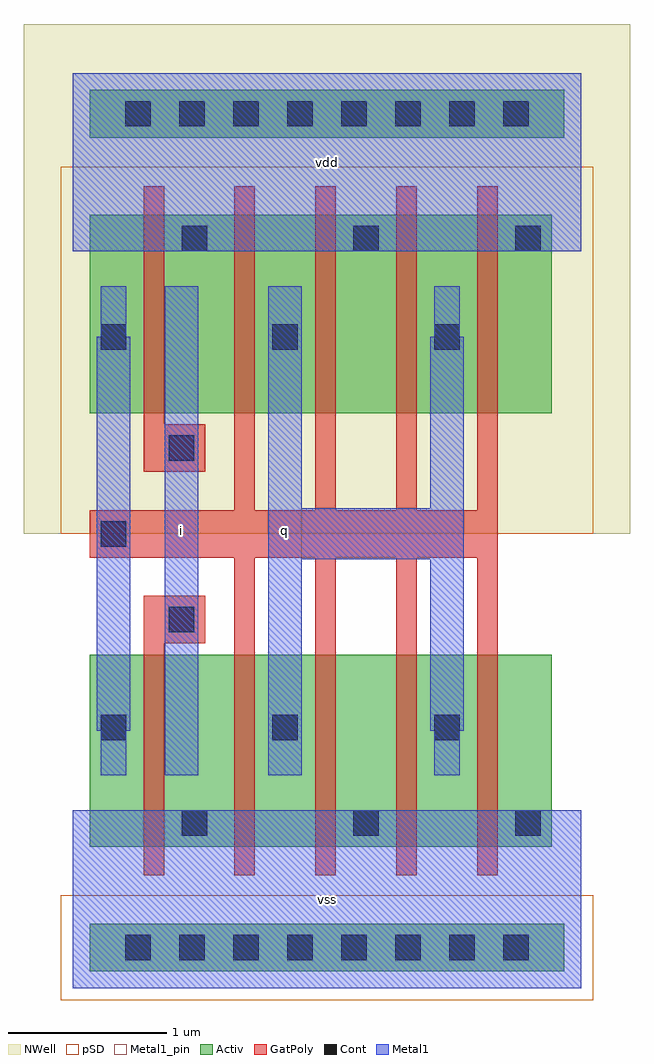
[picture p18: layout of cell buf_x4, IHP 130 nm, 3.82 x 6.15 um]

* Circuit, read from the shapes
.subckt buf_x4 i q vdd vss
XM1 vss i n1 vss sg13_lv_nmos w=1.21u l=0.13u
XM2 q n1 vss vss sg13_lv_nmos w=1.21u l=0.13u m=4
XM3 vdd i n1 vdd sg13_lv_pmos w=1.25u l=0.13u
XM4 q n1 vdd vdd sg13_lv_pmos w=1.25u l=0.13u m=4
.ends

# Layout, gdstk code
import gdstk
lib = gdstk.Library(unit=1e-6, precision=1e-09)
def R(c, l, rs):  # rectangles x0, y0, x1, y1
    for r in rs: c.add(gdstk.rectangle(r[:2], r[2:], *l))
def P(c, l, *ps):  # polygons
    for p in ps: c.add(gdstk.Polygon(p, *l))
Activ = (1, 0)
GatPoly = (5, 0)
Cont = (6, 0)
Metal1 = (8, 0)
Metal1_pin = (8, 2)
pSD = (14, 0)
NWell = (31, 0)

buf_x4 = lib.new_cell('buf_x4')
P(buf_x4, Activ, [(0.615,0.89),(0.615,2.1),(0.915,2.1),(0.915,0.89),(0.615,0.89)],
  [(2.675,0.89),(2.675,2.1),(2.905,2.1),(2.905,0.89),(2.675,0.89)],
  [(1.695,0.89),(1.695,1.19),(1.995,1.19),(1.995,0.89),(1.695,0.89)],
  [(2.545,0.89),(2.545,2.1),(2.675,2.1),(2.675,0.89),(2.545,0.89)],
  [(0.445,0.89),(0.445,2.1),(0.575,2.1),(0.575,0.89),(0.445,0.89)],
  [(1.695,0.89),(1.695,2.1),(1.995,2.1),(1.995,0.89),(1.695,0.89)],
  [(0.26,0.105),(0.26,0.405),(2.94,0.405),(2.94,0.105),(0.26,0.105)],
  [(2.715,0.89),(2.715,1.19),(3.015,1.19),(3.015,0.89),(2.715,0.89)],
  [(1.725,0.89),(1.725,2.1),(1.965,2.1),(1.965,0.89),(1.725,0.89)],
  [(2.035,0.89),(2.035,2.1),(2.165,2.1),(2.165,0.89),(2.035,0.89)],
  [(1.655,0.89),(1.655,2.1),(1.885,2.1),(1.885,0.89),(1.655,0.89)],
  [(1.525,0.89),(1.525,2.1),(1.655,2.1),(1.655,0.89),(1.525,0.89)],
  [(0.575,0.89),(0.575,2.1),(0.805,2.1),(0.805,0.89),(0.575,0.89)],
  [(0.645,0.89),(0.645,2.1),(0.945,2.1),(0.945,0.89),(0.645,0.89)],
  [(1.015,0.89),(1.015,2.1),(1.145,2.1),(1.145,0.89),(1.015,0.89)],
  [(1.805,0.89),(1.805,2.1),(2.035,2.1),(2.035,0.89),(1.805,0.89)],
  [(0.615,0.89),(0.615,1.19),(0.915,1.19),(0.915,0.89),(0.615,0.89)],
  [(0.105,0.105),(0.105,0.405),(3.095,0.405),(3.095,0.105),(0.105,0.105)],
  [(0.785,0.89),(0.785,2.1),(1.015,2.1),(1.015,0.89),(0.785,0.89)],
  [(2.715,0.89),(2.715,2.1),(3.015,2.1),(3.015,0.89),(2.715,0.89)],
  [(2.745,0.89),(2.745,2.1),(3.015,2.1),(3.015,0.89),(2.745,0.89)],
  [(1.525,3.62),(1.525,4.87),(1.655,4.87),(1.655,3.62),(1.525,3.62)],
  [(1.695,3.62),(1.695,4.87),(1.995,4.87),(1.995,3.62),(1.695,3.62)],
  [(2.035,3.62),(2.035,4.87),(2.165,4.87),(2.165,3.62),(2.035,3.62)],
  [(1.695,4.57),(1.695,4.87),(1.995,4.87),(1.995,4.57),(1.695,4.57)],
  [(0.615,3.62),(0.615,4.87),(0.915,4.87),(0.915,3.62),(0.615,3.62)],
  [(2.675,3.62),(2.675,4.87),(2.905,4.87),(2.905,3.62),(2.675,3.62)],
  [(2.715,3.62),(2.715,4.87),(3.015,4.87),(3.015,3.62),(2.715,3.62)],
  [(0.645,3.62),(0.645,4.87),(0.945,4.87),(0.945,3.62),(0.645,3.62)],
  [(0.575,3.62),(0.575,4.87),(0.805,4.87),(0.805,3.62),(0.575,3.62)],
  [(2.715,4.57),(2.715,4.87),(3.015,4.87),(3.015,4.57),(2.715,4.57)],
  [(0.445,3.62),(0.445,4.87),(0.575,4.87),(0.575,3.62),(0.445,3.62)],
  [(2.745,3.62),(2.745,4.87),(3.015,4.87),(3.015,3.62),(2.745,3.62)],
  [(0.105,5.355),(0.105,5.655),(3.095,5.655),(3.095,5.355),(0.105,5.355)],
  [(1.015,3.62),(1.015,4.87),(1.145,4.87),(1.145,3.62),(1.015,3.62)],
  [(1.805,3.62),(1.805,4.87),(2.035,4.87),(2.035,3.62),(1.805,3.62)],
  [(0.785,3.62),(0.785,4.87),(1.015,4.87),(1.015,3.62),(0.785,3.62)],
  [(1.725,3.62),(1.725,4.87),(1.965,4.87),(1.965,3.62),(1.725,3.62)],
  [(0.615,4.57),(0.615,4.87),(0.915,4.87),(0.915,4.57),(0.615,4.57)],
  [(1.655,3.62),(1.655,4.87),(1.885,4.87),(1.885,3.62),(1.655,3.62)],
  [(0.26,5.355),(0.26,5.655),(2.94,5.655),(2.94,5.355),(0.26,5.355)],
  [(2.545,3.62),(2.545,4.87),(2.675,4.87),(2.675,3.62),(2.545,3.62)],
  [(1.185,0.89),(1.185,2.1),(1.485,2.1),(1.485,0.89),(1.185,0.89)],
  [(2.205,0.89),(2.205,2.1),(2.505,2.1),(2.505,0.89),(2.205,0.89)],
  [(2.235,3.62),(2.235,4.87),(2.475,4.87),(2.475,3.62),(2.235,3.62)],
  [(1.185,3.62),(1.185,4.87),(1.485,4.87),(1.485,3.62),(1.185,3.62)],
  [(1.215,0.89),(1.215,2.1),(1.455,2.1),(1.455,0.89),(1.215,0.89)],
  [(1.145,3.62),(1.145,4.87),(1.375,4.87),(1.375,3.62),(1.145,3.62)],
  [(2.315,0.89),(2.315,2.1),(2.545,2.1),(2.545,0.89),(2.315,0.89)],
  [(2.205,3.62),(2.205,4.87),(2.505,4.87),(2.505,3.62),(2.205,3.62)],
  [(2.165,0.89),(2.165,2.1),(2.395,2.1),(2.395,0.89),(2.165,0.89)],
  [(1.295,0.89),(1.295,2.1),(1.525,2.1),(1.525,0.89),(1.295,0.89)],
  [(2.235,0.89),(2.235,2.1),(2.475,2.1),(2.475,0.89),(2.235,0.89)],
  [(1.215,3.62),(1.215,4.87),(1.455,4.87),(1.455,3.62),(1.215,3.62)],
  [(2.205,3.95),(2.205,4.25),(2.505,4.25),(2.505,3.95),(2.205,3.95)],
  [(1.185,3.95),(1.185,4.25),(1.485,4.25),(1.485,3.95),(1.185,3.95)],
  [(1.145,0.89),(1.145,2.1),(1.375,2.1),(1.375,0.89),(1.145,0.89)],
  [(2.205,1.49),(2.205,1.79),(2.505,1.79),(2.505,1.49),(2.205,1.49)],
  [(2.315,3.62),(2.315,4.87),(2.545,4.87),(2.545,3.62),(2.315,3.62)],
  [(1.185,1.49),(1.185,1.79),(1.485,1.79),(1.485,1.49),(1.185,1.49)],
  [(1.295,3.62),(1.295,4.87),(1.525,4.87),(1.525,3.62),(1.295,3.62)],
  [(2.165,3.62),(2.165,4.87),(2.395,4.87),(2.395,3.62),(2.165,3.62)],
  [(0.105,3.62),(0.105,4.87),(0.405,4.87),(0.405,3.62),(0.105,3.62)],
  [(0.215,3.62),(0.215,4.87),(0.445,4.87),(0.445,3.62),(0.215,3.62)],
  [(0.105,3.95),(0.105,4.25),(0.405,4.25),(0.405,3.95),(0.105,3.95)],
  [(0.105,0.89),(0.105,2.1),(0.375,2.1),(0.375,0.89),(0.105,0.89)],
  [(0.105,1.49),(0.105,1.79),(0.405,1.79),(0.405,1.49),(0.105,1.49)],
  [(0.215,0.89),(0.215,2.1),(0.445,2.1),(0.445,0.89),(0.215,0.89)],
  [(0.105,0.89),(0.105,2.1),(0.405,2.1),(0.405,0.89),(0.105,0.89)],
  [(0.105,3.62),(0.105,4.87),(0.375,4.87),(0.375,3.62),(0.105,3.62)])
P(buf_x4, GatPoly, [(0.445,0.71),(0.445,2.28),(0.575,2.28),(0.575,0.71),(0.445,0.71)],
  [(0.51,2.17),(0.51,2.47),(0.685,2.47),(0.685,2.17),(0.51,2.17)],
  [(0.535,2.17),(0.535,2.47),(0.835,2.47),(0.835,2.17),(0.535,2.17)],
  [(0.51,3.25),(0.51,3.55),(0.685,3.55),(0.685,3.25),(0.51,3.25)],
  [(0.445,3.25),(0.445,5.05),(0.575,5.05),(0.575,3.25),(0.445,3.25)],
  [(0.535,3.25),(0.535,3.55),(0.835,3.55),(0.835,3.25),(0.535,3.25)],
  [(0.445,0.71),(0.445,2.47),(0.575,2.47),(0.575,0.71),(0.445,0.71)],
  [(0.445,3.44),(0.445,5.05),(0.575,5.05),(0.575,3.44),(0.445,3.44)],
  [(0.255,2.71),(0.255,3.01),(2.61,3.01),(2.61,2.71),(0.255,2.71)],
  [(2.545,0.71),(2.545,3.44),(2.675,3.44),(2.675,0.71),(2.545,0.71)],
  [(2.545,0.71),(2.545,2.28),(2.675,2.28),(2.675,0.71),(2.545,0.71)],
  [(1.525,0.71),(1.525,2.28),(1.655,2.28),(1.655,0.71),(1.525,0.71)],
  [(1.015,3.44),(1.015,5.05),(1.145,5.05),(1.145,3.44),(1.015,3.44)],
  [(2.035,0.71),(2.035,2.28),(2.165,2.28),(2.165,0.71),(2.035,0.71)],
  [(1.525,3.44),(1.525,5.05),(1.655,5.05),(1.655,3.44),(1.525,3.44)],
  [(2.035,3.44),(2.035,5.05),(2.165,5.05),(2.165,3.44),(2.035,3.44)],
  [(1.015,0.71),(1.015,3.44),(1.145,3.44),(1.145,0.71),(1.015,0.71)],
  [(2.035,0.71),(2.035,3.44),(2.165,3.44),(2.165,0.71),(2.035,0.71)],
  [(1.525,0.71),(1.525,3.44),(1.655,3.44),(1.655,0.71),(1.525,0.71)],
  [(0.105,2.71),(0.105,3.01),(0.405,3.01),(0.405,2.71),(0.105,2.71)],
  [(2.545,3.44),(2.545,5.05),(2.675,5.05),(2.675,3.44),(2.545,3.44)],
  [(1.015,0.71),(1.015,2.28),(1.145,2.28),(1.145,0.71),(1.015,0.71)])
P(buf_x4, Cont, [(1.765,0.96),(1.765,1.12),(1.925,1.12),(1.925,0.96),(1.765,0.96)],
  [(2.785,0.96),(2.785,1.12),(2.945,1.12),(2.945,0.96),(2.785,0.96)],
  [(0.685,0.96),(0.685,1.12),(0.845,1.12),(0.845,0.96),(0.685,0.96)],
  [(2.71,0.175),(2.71,0.335),(2.87,0.335),(2.87,0.175),(2.71,0.175)],
  [(2.37,0.175),(2.37,0.335),(2.53,0.335),(2.53,0.175),(2.37,0.175)],
  [(2.03,0.175),(2.03,0.335),(2.19,0.335),(2.19,0.175),(2.03,0.175)],
  [(1.69,0.175),(1.69,0.335),(1.85,0.335),(1.85,0.175),(1.69,0.175)],
  [(1.35,0.175),(1.35,0.335),(1.51,0.335),(1.51,0.175),(1.35,0.175)],
  [(1.01,0.175),(1.01,0.335),(1.17,0.335),(1.17,0.175),(1.01,0.175)],
  [(0.67,0.175),(0.67,0.335),(0.83,0.335),(0.83,0.175),(0.67,0.175)],
  [(0.33,0.175),(0.33,0.335),(0.49,0.335),(0.49,0.175),(0.33,0.175)],
  [(2.785,4.64),(2.785,4.8),(2.945,4.8),(2.945,4.64),(2.785,4.64)],
  [(2.71,5.425),(2.71,5.585),(2.87,5.585),(2.87,5.425),(2.71,5.425)],
  [(2.37,5.425),(2.37,5.585),(2.53,5.585),(2.53,5.425),(2.37,5.425)],
  [(2.03,5.425),(2.03,5.585),(2.19,5.585),(2.19,5.425),(2.03,5.425)],
  [(1.69,5.425),(1.69,5.585),(1.85,5.585),(1.85,5.425),(1.69,5.425)],
  [(1.35,5.425),(1.35,5.585),(1.51,5.585),(1.51,5.425),(1.35,5.425)],
  [(1.01,5.425),(1.01,5.585),(1.17,5.585),(1.17,5.425),(1.01,5.425)],
  [(0.67,5.425),(0.67,5.585),(0.83,5.585),(0.83,5.425),(0.67,5.425)],
  [(0.33,5.425),(0.33,5.585),(0.49,5.585),(0.49,5.425),(0.33,5.425)],
  [(0.685,4.64),(0.685,4.8),(0.845,4.8),(0.845,4.64),(0.685,4.64)],
  [(1.765,4.64),(1.765,4.8),(1.925,4.8),(1.925,4.64),(1.765,4.64)],
  [(1.255,1.56),(1.255,1.72),(1.415,1.72),(1.415,1.56),(1.255,1.56)],
  [(1.255,4.02),(1.255,4.18),(1.415,4.18),(1.415,4.02),(1.255,4.02)],
  [(2.275,1.56),(2.275,1.72),(2.435,1.72),(2.435,1.56),(2.275,1.56)],
  [(2.275,4.02),(2.275,4.18),(2.435,4.18),(2.435,4.02),(2.275,4.02)],
  [(0.605,2.24),(0.605,2.4),(0.765,2.4),(0.765,2.24),(0.605,2.24)],
  [(0.605,3.32),(0.605,3.48),(0.765,3.48),(0.765,3.32),(0.605,3.32)],
  [(0.175,4.02),(0.175,4.18),(0.335,4.18),(0.335,4.02),(0.175,4.02)],
  [(0.175,2.78),(0.175,2.94),(0.335,2.94),(0.335,2.78),(0.175,2.78)],
  [(0.175,1.56),(0.175,1.72),(0.335,1.72),(0.335,1.56),(0.175,1.56)])
R(buf_x4, Metal1, [(0,0,3.2,1.12), (0.58,1.34,0.79,4.42), (1.23,1.34,1.44,4.42), (0,4.64,3.2,5.76)])
P(buf_x4, Metal1, [(0.33,0.095),(0.33,0.415),(2.87,0.415),(2.87,0.095),(0.33,0.095)],
  [(0.605,0.96),(0.605,1.12),(0.925,1.12),(0.925,0.96),(0.605,0.96)],
  [(1.685,0.96),(1.685,1.12),(2.005,1.12),(2.005,0.96),(1.685,0.96)],
  [(0,0),(0,1.12),(3.2,1.12),(3.2,0),(0,0)],
  [(2.705,0.96),(2.705,1.12),(3.025,1.12),(3.025,0.96),(2.705,0.96)],
  [(1.685,4.64),(1.685,4.8),(2.005,4.8),(2.005,4.64),(1.685,4.64)],
  [(0,4.64),(0,5.76),(3.2,5.76),(3.2,4.64),(0,4.64)],
  [(0.605,4.64),(0.605,4.8),(0.925,4.8),(0.925,4.64),(0.605,4.64)],
  [(0.33,5.345),(0.33,5.665),(2.87,5.665),(2.87,5.345),(0.33,5.345)],
  [(2.705,4.64),(2.705,4.8),(3.025,4.8),(3.025,4.64),(2.705,4.64)],
  [(1.255,3.94),(1.255,4.26),(1.415,4.26),(1.415,3.94),(1.255,3.94)],
  [(2.275,3.78),(2.275,4.42),(2.435,4.42),(2.435,3.78),(2.275,3.78)],
  [(1.23,1.34),(1.23,4.42),(1.44,4.42),(1.44,1.34),(1.23,1.34)],
  [(1.23,2.7),(1.23,3.02),(1.44,3.02),(1.44,2.7),(1.23,2.7)],
  [(1.255,1.48),(1.255,1.8),(1.415,1.8),(1.415,1.48),(1.255,1.48)],
  [(2.275,1.34),(2.275,1.94),(2.435,1.94),(2.435,1.34),(2.275,1.34)],
  [(2.25,2.7),(2.25,3.02),(2.46,3.02),(2.46,2.7),(2.25,2.7)],
  [(2.275,1.48),(2.275,1.8),(2.435,1.8),(2.435,1.48),(2.275,1.48)],
  [(1.335,2.7),(1.335,3.02),(2.355,3.02),(2.355,2.7),(1.335,2.7)],
  [(1.255,1.34),(1.255,1.94),(1.415,1.94),(1.415,1.34),(1.255,1.34)],
  [(2.25,1.62),(2.25,4.1),(2.46,4.1),(2.46,1.62),(2.25,1.62)],
  [(2.275,3.94),(2.275,4.26),(2.435,4.26),(2.435,3.94),(2.275,3.94)],
  [(1.255,3.78),(1.255,4.42),(1.415,4.42),(1.415,3.78),(1.255,3.78)],
  [(0.58,1.34),(0.58,4.42),(0.79,4.42),(0.79,1.34),(0.58,1.34)],
  [(0.605,2.16),(0.605,2.48),(0.765,2.48),(0.765,2.16),(0.605,2.16)],
  [(0.605,3.24),(0.605,3.56),(0.765,3.56),(0.765,3.24),(0.605,3.24)],
  [(0.175,3.78),(0.175,4.42),(0.335,4.42),(0.335,3.78),(0.175,3.78)],
  [(0.15,1.62),(0.15,4.1),(0.36,4.1),(0.36,1.62),(0.15,1.62)],
  [(0.175,3.94),(0.175,4.26),(0.335,4.26),(0.335,3.94),(0.175,3.94)],
  [(0.175,1.34),(0.175,1.94),(0.335,1.94),(0.335,1.34),(0.175,1.34)],
  [(0.175,2.7),(0.175,3.02),(0.335,3.02),(0.335,2.7),(0.175,2.7)],
  [(0.175,1.48),(0.175,1.8),(0.335,1.8),(0.335,1.48),(0.175,1.48)])
R(buf_x4, Metal1_pin, [(0,0,3.2,1.12), (0,0,3.2,1.12), (0.58,1.34,0.79,4.42), (0.58,1.34,0.79,4.42), (1.23,1.34,1.44,4.42), (1.23,1.34,1.44,4.42), (0,4.64,3.2,5.76), (0,4.64,3.2,5.76)])
P(buf_x4, pSD, [(0.465,3.32),(0.465,5.17),(1.125,5.17),(1.125,3.32),(0.465,3.32)],
  [(2.535,4.27),(2.535,5.17),(3.195,5.17),(3.195,4.27),(2.535,4.27)],
  [(0.605,3.44),(0.605,5.05),(1.555,5.05),(1.555,3.44),(0.605,3.44)],
  [(2.565,3.32),(2.565,5.17),(3.195,5.17),(3.195,3.32),(2.565,3.32)],
  [(2.535,3.32),(2.535,5.17),(3.195,5.17),(3.195,3.32),(2.535,3.32)],
  [(2.025,3.65),(2.025,4.55),(2.685,4.55),(2.685,3.65),(2.025,3.65)],
  [(1.005,3.65),(1.005,4.55),(1.665,4.55),(1.665,3.65),(1.005,3.65)],
  [(1.005,3.32),(1.005,5.17),(1.665,5.17),(1.665,3.32),(1.005,3.32)],
  [(1.735,3.32),(1.735,5.17),(2.465,5.17),(2.465,3.32),(1.735,3.32)],
  [(2.135,3.44),(2.135,5.05),(3.085,5.05),(3.085,3.44),(2.135,3.44)],
  [(-0.075,2.86),(-0.075,5.17),(3.275,5.17),(3.275,2.86),(-0.075,2.86)],
  [(0.145,3.32),(0.145,5.17),(0.875,5.17),(0.875,3.32),(0.145,3.32)],
  [(2.055,3.32),(2.055,5.17),(2.655,5.17),(2.655,3.32),(2.055,3.32)],
  [(0.435,3.32),(0.435,5.17),(1.095,5.17),(1.095,3.32),(0.435,3.32)],
  [(1.625,3.44),(1.625,5.05),(2.575,5.05),(2.575,3.44),(1.625,3.44)],
  [(1.545,3.32),(1.545,5.17),(2.145,5.17),(2.145,3.32),(1.545,3.32)],
  [(-0.075,-0.075),(-0.075,0.585),(3.275,0.585),(3.275,-0.075),(-0.075,-0.075)],
  [(0.035,3.44),(0.035,5.05),(0.985,5.05),(0.985,3.44),(0.035,3.44)],
  [(-0.075,3.32),(-0.075,5.17),(0.585,5.17),(0.585,3.32),(-0.075,3.32)],
  [(1.515,4.27),(1.515,5.17),(2.175,5.17),(2.175,4.27),(1.515,4.27)],
  [(0.715,3.32),(0.715,5.17),(1.445,5.17),(1.445,3.32),(0.715,3.32)],
  [(2.025,3.32),(2.025,5.17),(2.685,5.17),(2.685,3.32),(2.025,3.32)],
  [(-0.075,3.32),(-0.075,5.17),(0.555,5.17),(0.555,3.32),(-0.075,3.32)],
  [(0.435,4.27),(0.435,5.17),(1.095,5.17),(1.095,4.27),(0.435,4.27)],
  [(1.225,3.32),(1.225,5.17),(1.955,5.17),(1.955,3.32),(1.225,3.32)],
  [(-0.075,3.65),(-0.075,4.55),(0.585,4.55),(0.585,3.65),(-0.075,3.65)],
  [(2.245,3.32),(2.245,5.17),(2.975,5.17),(2.975,3.32),(2.245,3.32)],
  [(1.115,3.44),(1.115,5.05),(2.065,5.05),(2.065,3.44),(1.115,3.44)],
  [(1.035,3.32),(1.035,5.17),(1.635,5.17),(1.635,3.32),(1.035,3.32)],
  [(1.515,3.32),(1.515,5.17),(2.175,5.17),(2.175,3.32),(1.515,3.32)],
  [(0.08,-0.075),(0.08,0.585),(3.12,0.585),(3.12,-0.075),(0.08,-0.075)])
P(buf_x4, NWell, [(0.985,3.31),(0.985,5.18),(2.195,5.18),(2.195,3.31),(0.985,3.31)],
  [(0.305,4.26),(0.305,5.18),(1.225,5.18),(1.225,4.26),(0.305,4.26)],
  [(-0.05,5.045),(-0.05,5.965),(3.25,5.965),(3.25,5.045),(-0.05,5.045)],
  [(-0.205,3.31),(-0.205,5.18),(0.715,5.18),(0.715,3.31),(-0.205,3.31)],
  [(2.405,3.31),(2.405,5.18),(3.325,5.18),(3.325,3.31),(2.405,3.31)],
  [(0.475,3.31),(0.475,5.18),(1.685,5.18),(1.685,3.31),(0.475,3.31)],
  [(0.305,3.31),(0.305,5.18),(1.225,5.18),(1.225,3.31),(0.305,3.31)],
  [(-0.31,2.86),(-0.31,6.07),(3.51,6.07),(3.51,2.86),(-0.31,2.86)],
  [(1.415,3.31),(1.415,5.18),(2.275,5.18),(2.275,3.31),(1.415,3.31)],
  [(0.905,3.31),(0.905,5.18),(1.765,5.18),(1.765,3.31),(0.905,3.31)],
  [(1.895,3.31),(1.895,5.18),(2.815,5.18),(2.815,3.31),(1.895,3.31)],
  [(1.895,3.64),(1.895,4.56),(2.815,4.56),(2.815,3.64),(1.895,3.64)],
  [(1.495,3.31),(1.495,5.18),(2.705,5.18),(2.705,3.31),(1.495,3.31)],
  [(0.335,3.31),(0.335,5.18),(1.255,5.18),(1.255,3.31),(0.335,3.31)],
  [(1.925,3.31),(1.925,5.18),(2.785,5.18),(2.785,3.31),(1.925,3.31)],
  [(-0.205,3.64),(-0.205,4.56),(0.715,4.56),(0.715,3.64),(-0.205,3.64)],
  [(2.435,3.31),(2.435,5.18),(3.325,5.18),(3.325,3.31),(2.435,3.31)],
  [(1.385,4.26),(1.385,5.18),(2.305,5.18),(2.305,4.26),(1.385,4.26)],
  [(-0.205,3.31),(-0.205,5.18),(0.685,5.18),(0.685,3.31),(-0.205,3.31)],
  [(1.385,3.31),(1.385,5.18),(2.305,5.18),(2.305,3.31),(1.385,3.31)],
  [(2.005,3.31),(2.005,5.18),(3.215,5.18),(3.215,3.31),(2.005,3.31)],
  [(2.405,4.26),(2.405,5.18),(3.325,5.18),(3.325,4.26),(2.405,4.26)],
  [(-0.205,5.045),(-0.205,5.965),(3.405,5.965),(3.405,5.045),(-0.205,5.045)],
  [(-0.095,3.31),(-0.095,5.18),(1.115,5.18),(1.115,3.31),(-0.095,3.31)],
  [(0.875,3.31),(0.875,5.18),(1.795,5.18),(1.795,3.31),(0.875,3.31)],
  [(0.875,3.64),(0.875,4.56),(1.795,4.56),(1.795,3.64),(0.875,3.64)])
buf_x4.add(gdstk.Label('vss', (1.6,0.56), layer=8, texttype=25))
buf_x4.add(gdstk.Label('vdd', (1.6,5.2), layer=8, texttype=25))
buf_x4.add(gdstk.Label('q', (1.335,2.88), layer=8, texttype=25))
buf_x4.add(gdstk.Label('i', (0.685,2.88), layer=8, texttype=25))

lib.write_gds('buf_x4.gds')
